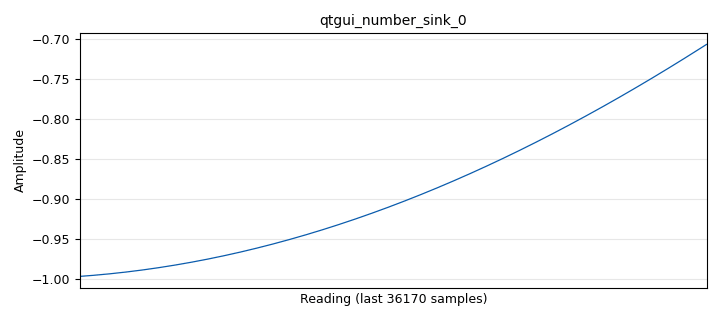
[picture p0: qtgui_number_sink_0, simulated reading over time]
options:
  parameters:
    generate_options: qt_gui
    id: Number_Sink
    output_language: cpp
    title: Number_Sink demo
  states: {}

blocks:
- name: freq
  id: variable_qtgui_label
  parameters:
    gui_hint: 0,0
    label: Frequency
    type: real
    value: '0.1'
  states: {}
- name: samp_rate
  id: variable
  parameters:
    value: '32000'
  states: {}
- name: analog_sig_source_x_0
  id: analog_sig_source_x
  parameters:
    amp: '1'
    freq: freq
    offset: '0'
    phase: '0'
    samp_rate: samp_rate
    type: float
    waveform: analog.GR_COS_WAVE
  states: {}
- name: blocks_throttle2_0
  id: blocks_throttle2
  parameters:
    samples_per_second: samp_rate
    type: float
  states: {}
- name: qtgui_number_sink_0
  id: qtgui_number_sink
  parameters:
    graph_type: qtgui.NUM_GRAPH_VERT
    type: float
  states: {}

connections:
- [analog_sig_source_x_0, '0', blocks_throttle2_0, '0']
- [blocks_throttle2_0, '0', qtgui_number_sink_0, '0']

metadata:
  file_format: 1
  grc_version: 3.10.10.0
